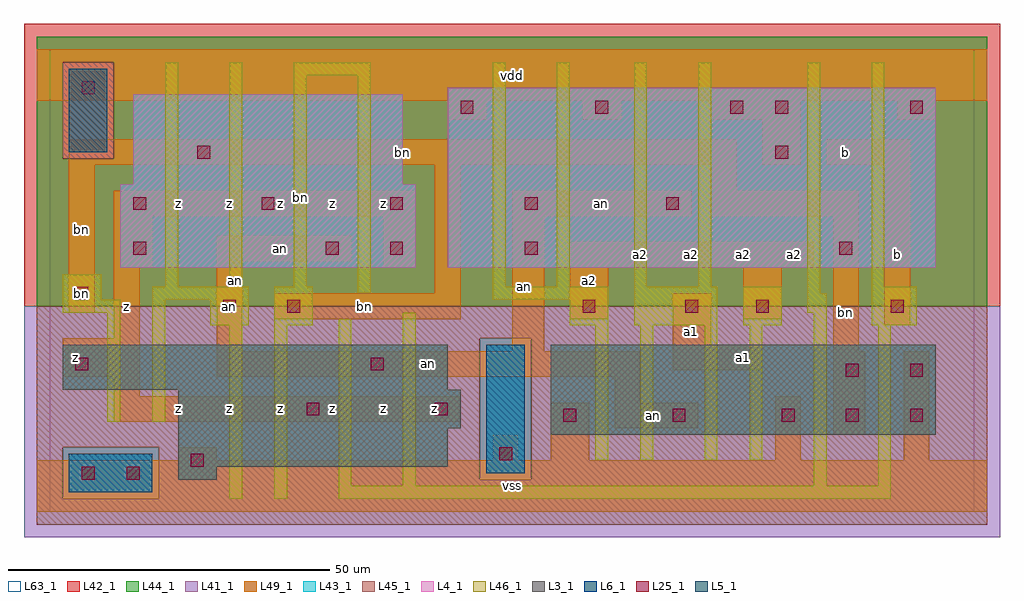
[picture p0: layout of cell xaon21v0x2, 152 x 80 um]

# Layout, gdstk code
import gdstk
lib = gdstk.Library(unit=1e-6, precision=1e-09)
def R(c, l, rs):  # rectangles x0, y0, x1, y1
    for r in rs: c.add(gdstk.rectangle(r[:2], r[2:], *l))
def A(c, l, x, y, w, h, nx, ny, dx, dy):  # array of equal rectangles
    R(c, l, [(x+i*dx, y+j*dy, x+i*dx+w, y+j*dy+h) for i in range(nx) for j in range(ny)])
L3_1 = (3, 1)
L4_1 = (4, 1)
L5_1 = (5, 1)
L6_1 = (6, 1)
L25_1 = (25, 1)
L41_1 = (41, 1)
L42_1 = (42, 1)
L43_1 = (43, 1)
L44_1 = (44, 1)
L45_1 = (45, 1)
L46_1 = (46, 1)
L49_1 = (49, 1)
L63_1 = (63, 1)

xaon21v0x2 = lib.new_cell('xaon21v0x2')
R(xaon21v0x2, L3_1, [(20,5,26,7), (20,7,62,13), (78,12,138,26), (20,13,64,19), (2,19,62,26)])
R(xaon21v0x2, L4_1, [(11,38,57,51), (62,38,138,66), (13,51,55,65)])
R(xaon21v0x2, L5_1, [(3,56,9,69)])
R(xaon21v0x2, L6_1, [(3,3,16,9), (3,3,16,9), (68,6,74,26), (68,6,74,26)])
A(xaon21v0x2, L25_1, 80, 14, 2, 2, 3, 1, 17, 0)
A(xaon21v0x2, L25_1, 13, 47, 2, 2, 3, 1, 20, 0)
A(xaon21v0x2, L25_1, 64, 62, 2, 2, 3, 1, 21, 0)
R(xaon21v0x2, L25_1, [(5,5,7,7), (12,5,14,7), (22,7,24,9), (70,8,72,10), (124,14,126,16), (134,14,136,16), (40,15,42,17), (60,15,62,17), (124,21,126,23), (134,21,136,23), (4,22,6,24), (50,22,52,24), (27,31,29,33), (37,31,39,33), (83,31,85,33), (99,31,101,33), (110,31,112,33), (131,31,133,33), (4,33,6,35), (13,40,15,42), (43,40,45,42), (53,40,55,42), (74,40,76,42), (123,40,125,42), (74,47,76,49), (96,47,98,49), (23,55,25,57), (113,55,115,57), (113,62,115,64), (134,62,136,64), (5,65,7,67)])
R(xaon21v0x2, L41_1, [(-4,-4,148,32)])
R(xaon21v0x2, L42_1, [(-4,32,148,76)])
R(xaon21v0x2, L43_1, [(3,3,16,9), (20,5,26,7), (68,6,74,26), (20,7,62,13), (78,12,138,26), (20,13,64,19), (2,19,62,26), (11,38,57,51), (62,38,138,66), (13,51,55,65), (3,56,9,69)])
R(xaon21v0x2, L44_1, [(2,2,17,10), (67,5,75,27), (-2,32,146,55), (-2,55,2,70), (10,55,146,70), (-2,70,146,74)])
R(xaon21v0x2, L45_1, [(-2,-2,146,2), (-2,2,2,10), (17,2,146,5), (17,5,67,10), (75,5,146,27), (-2,10,67,27), (-2,27,146,32), (2,55,10,70)])
R(xaon21v0x2, L46_1, [(28,2,30,29), (35,2,37,29), (45,2,131,4), (45,4,47,30), (55,4,57,31), (119,4,121,31), (129,4,131,29), (85,8,87,29), (92,8,94,29), (102,8,104,29), (109,8,111,29), (9,14,11,31), (16,14,18,33), (25,29,31,33), (35,29,41,35), (81,29,87,33), (91,29,104,35), (108,29,114,35), (128,29,135,35), (2,31,11,33), (118,31,121,34), (2,33,8,37), (16,33,31,35), (69,33,87,35), (48,34,50,68), (118,34,120,70), (18,35,20,70), (28,35,30,70), (38,35,40,68), (69,35,71,70), (79,35,81,70), (91,35,93,70), (101,35,103,70), (128,35,130,70), (38,68,50,70)])
R(xaon21v0x2, L49_1, [(-2,0,146,8), (20,8,26,10), (69,8,73,12), (78,8,84,17), (113,8,117,18), (133,8,137,25), (122,12,127,25), (88,13,101,17), (10,14,64,18), (88,17,92,21), (10,18,14,21), (2,21,14,27), (26,21,92,25), (97,22,111,26), (26,25,30,39), (72,25,77,46), (122,25,126,46), (97,26,103,34), (10,27,14,38), (130,29,134,54), (35,30,64,34), (81,30,87,38), (108,30,114,38), (3,31,7,54), (60,34,64,54), (10,38,16,46), (52,38,57,46), (81,38,119,42), (26,39,47,43), (10,46,57,50), (72,46,100,50), (103,46,126,50), (103,50,107,54), (3,54,107,58), (111,54,117,61), (121,54,134,58), (62,61,68,64), (83,61,89,64), (103,61,117,64), (132,61,138,64), (-2,64,146,72)])
R(xaon21v0x2, L63_1, [(0,0,144,72)])
xaon21v0x2.add(gdstk.Label('bn', (5,34), layer=49, texttype=1))
xaon21v0x2.add(gdstk.Label('an', (29,36), layer=46, texttype=1))
xaon21v0x2.add(gdstk.Label('bn', (39,49), layer=46, texttype=1))
xaon21v0x2.add(gdstk.Label('z', (20,16), layer=49, texttype=1))
xaon21v0x2.add(gdstk.Label('z', (4,24), layer=49, texttype=1))
xaon21v0x2.add(gdstk.Label('z', (12,32), layer=49, texttype=1))
xaon21v0x2.add(gdstk.Label('z', (20,48), layer=49, texttype=1))
xaon21v0x2.add(gdstk.Label('bn', (5,44), layer=49, texttype=1))
xaon21v0x2.add(gdstk.Label('z', (36,16), layer=49, texttype=1))
xaon21v0x2.add(gdstk.Label('z', (44,16), layer=49, texttype=1))
xaon21v0x2.add(gdstk.Label('z', (52,16), layer=49, texttype=1))
xaon21v0x2.add(gdstk.Label('z', (28,16), layer=49, texttype=1))
xaon21v0x2.add(gdstk.Label('an', (36,41), layer=49, texttype=1))
xaon21v0x2.add(gdstk.Label('an', (28,32), layer=49, texttype=1))
xaon21v0x2.add(gdstk.Label('z', (28,48), layer=49, texttype=1))
xaon21v0x2.add(gdstk.Label('z', (36,48), layer=49, texttype=1))
xaon21v0x2.add(gdstk.Label('z', (44,48), layer=49, texttype=1))
xaon21v0x2.add(gdstk.Label('z', (52,48), layer=49, texttype=1))
xaon21v0x2.add(gdstk.Label('vss', (72,4), layer=49, texttype=1))
xaon21v0x2.add(gdstk.Label('z', (60,16), layer=49, texttype=1))
xaon21v0x2.add(gdstk.Label('bn', (49,32), layer=49, texttype=1))
xaon21v0x2.add(gdstk.Label('a2', (84,36), layer=49, texttype=1))
xaon21v0x2.add(gdstk.Label('an', (74,35), layer=49, texttype=1))
xaon21v0x2.add(gdstk.Label('vdd', (72,68), layer=49, texttype=1))
xaon21v0x2.add(gdstk.Label('an', (94,15), layer=49, texttype=1))
xaon21v0x2.add(gdstk.Label('an', (59,23), layer=49, texttype=1))
xaon21v0x2.add(gdstk.Label('a1', (108,24), layer=49, texttype=1))
xaon21v0x2.add(gdstk.Label('a1', (100,28), layer=49, texttype=1))
xaon21v0x2.add(gdstk.Label('a2', (100,40), layer=49, texttype=1))
xaon21v0x2.add(gdstk.Label('a2', (108,40), layer=49, texttype=1))
xaon21v0x2.add(gdstk.Label('a2', (92,40), layer=49, texttype=1))
xaon21v0x2.add(gdstk.Label('an', (86,48), layer=49, texttype=1))
xaon21v0x2.add(gdstk.Label('bn', (55,56), layer=49, texttype=1))
xaon21v0x2.add(gdstk.Label('a2', (116,40), layer=49, texttype=1))
xaon21v0x2.add(gdstk.Label('b', (132,40), layer=49, texttype=1))
xaon21v0x2.add(gdstk.Label('bn', (124,31), layer=49, texttype=1))
xaon21v0x2.add(gdstk.Label('b', (124,56), layer=49, texttype=1))

lib.write_gds('xaon21v0x2.gds')
